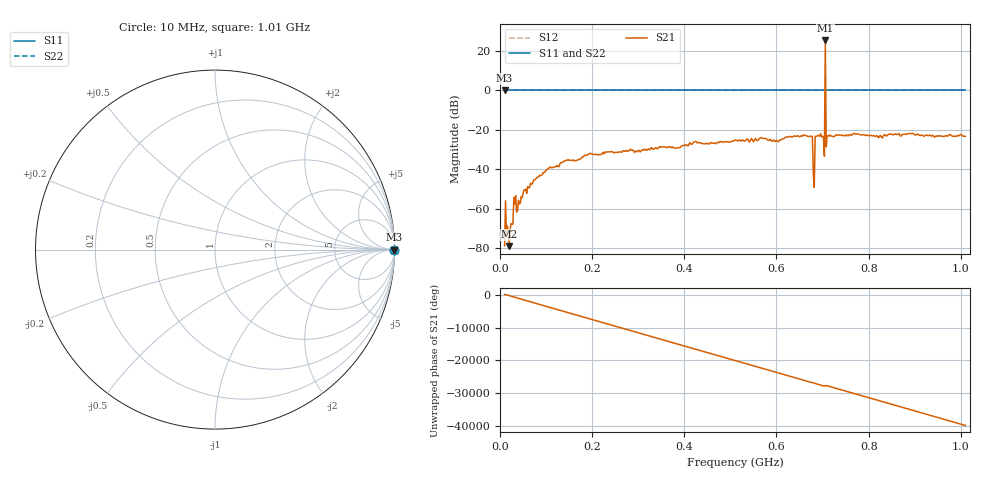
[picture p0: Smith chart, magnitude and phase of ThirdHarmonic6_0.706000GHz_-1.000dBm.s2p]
! 8/15/2025 11:36:09 PM
! C:\ANRITSUVNA\TEMP\TEMP.S2P
! CHANNEL.1
! TR.MEASUREMENT
! RAW.DATA
! RF.CORRECTION.OFF
! AVERAGING.OFF
! IF.BANDWIDTH: 5KHZ
! SWEEPTYPE:  FREQ.SWEEP(Linear)
! Reference Plane Port Info
! PORT:  PORT1  PORT2
! DISTANCE:  0  m  0  m
! TIME:  0  s  0  s
! PHASE.OFFSET:  0  deg.  0  deg.
! LOSS:  0  dB  0  dB
! REF.LOSS:  0  dB  0  dB
! REF.FREQ:  0  Hz  0  Hz
! Power Info
! POWER:  -20  dBm  -20  dBm
! EFF.POWER:  -20  dBm  -20  dBm
! SOURCE.ATTEN:  0  dB  0  dB
! TEST.ATTEN:  0  dB  0  dB
# GHZ S RI R 50.0
! FREQ.GHZ  S11RE  S11IM  S21RE  S21IM  S12RE  S12IM  S22RE  S22IM
!; PortSelection: Port_12
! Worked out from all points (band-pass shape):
!   501 points, 10 MHz to 1.01 GHz, reference 50 ohm
!   highest |S21| = 25.32 dB at 706 MHz (marker M1); lowest = -79.0 dB at 20 MHz (marker M2)
!   |S21| within 3 dB of the highest: 705.8979 MHz to 706.1111 MHz (213.3 kHz wide, 0.0302 % of centre)
!   lowest |S11| = 0.0 dB at 10 MHz (marker M3)
!   |S11| at or under -10 dB: nowhere
!   |S22| runs from 0.0 to 0.0 dB; largest |S21 - S12| = 17
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0.01  1 0  -8.7e-06 0.000114  1 0  1 0
0.014  1 0  0.000234 5.47e-05  1 0  1 0
0.02  1 0  -9.95e-05 -5.19e-05  1 0  1 0
0.024  1 0  0.000254 -0.000334  1 0  1 0
0.03  1 0  -0.00192 7.89e-05  1 0  1 0
0.034  1 0  0.000838 -0.00197  1 0  1 0
0.04  1 0  0.00113 0.00119  1 0  1 0
0.076  1 0  0.00537 0.000507  1 0  1 0
0.178  1 0  -0.0201 -0.00235  1 0  1 0
0.344  1 0  0.0317 -0.0156  1 0  1 0
0.51  1 0  -0.0331 0.0439  1 0  1 0
0.674  1 0  0.0672 -0.0113  1 0  1 0
0.678  1 0  -0.0665 -0.0154  1 0  1 0
0.684  1 0  0.0442 -0.0528  1 0  1 0
0.688  1 0  -0.0587 0.0364  1 0  1 0
0.7  1 0  0.0647 0.0242  1 0  1 0
0.702  1 0  0.0367 -0.0548  1 0  1 0
0.706  1 0  18.03 -3.903  1 0  1 0
0.71  1 0  0.0651 -0.0286  1 0  1 0
0.712  1 0  -0.0184 -0.0685  1 0  1 0
0.844  1 0  0.0698 -0.0348  1 0  1 0
1.01  1 0  -0.0173 0.0658  1 0  1 0
